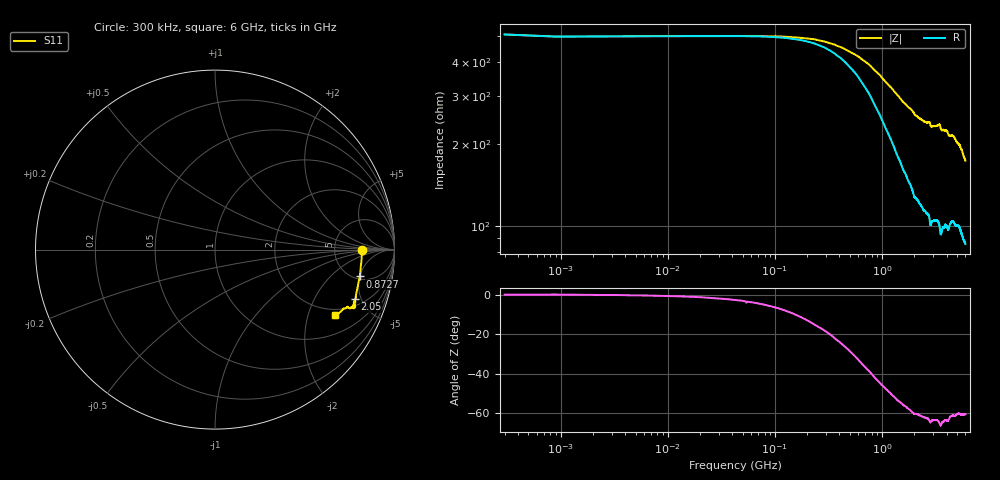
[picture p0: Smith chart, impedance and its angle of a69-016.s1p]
!  3/12/2021  10:25:04
! Ref Plane: 23.990 mm
# MHZ S MA R  50
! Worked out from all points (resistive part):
!   10001 points, 300 kHz to 6 GHz, reference 50 ohm
!   read as one part to ground: R = 499 ohm at 30.3 MHz
!   S11 on the Smith chart (normalised r, x): 300 kHz: 10, +0; 872.7 MHz: 5.47, -4.99; 2.05 GHz: 2.54, -4.42; 6 GHz: 1.72, -3.01
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0.3  0.8199 0.0
392.6804  0.8179 -5.0
750.2625  0.8197 -9.1
872.6564  0.82 -10.5
1101.245  0.8205 -12.8
1500.225  0.8227 -16.1
2050.398  0.8264 -19.5
2250.188  0.827 -20.2
2620.369  0.8292 -21.1
2729.564  0.8331 -21.2
2795.56  0.8385 -21.5
2848.358  0.8354 -22.1
3000.15  0.8301 -21.9
3252.137  0.8304 -21.9
3372.131  0.8357 -21.8
3474.126  0.8432 -22.1
3555.722  0.8398 -22.9
3646.918  0.8307 -22.9
3750.113  0.8293 -22.8
3901.905  0.8244 -22.7
4068.097  0.8251 -23.0
4169.492  0.8189 -23.6
4329.684  0.8078 -23.5
4500.075  0.8051 -23.3
4673.466  0.804 -23.5
5250.038  0.7867 -25.0
5542.223  0.7817 -26.2
6000  0.7637 -28.7
